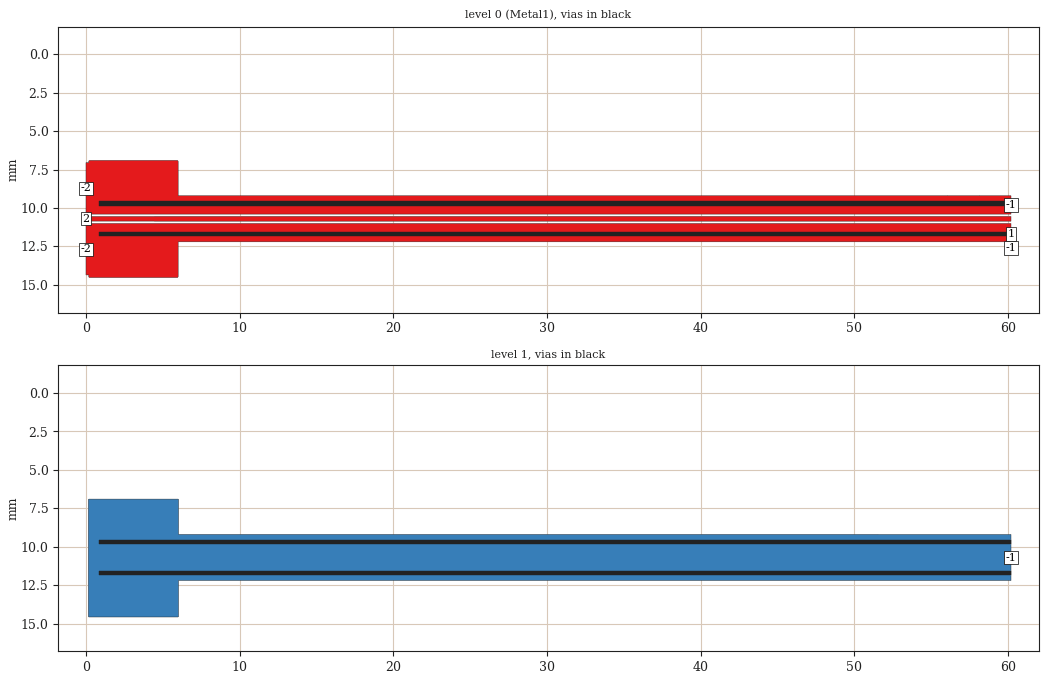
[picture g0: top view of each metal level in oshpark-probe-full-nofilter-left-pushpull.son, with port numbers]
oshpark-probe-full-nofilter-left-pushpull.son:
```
FTYP SONPROJ 18 ! Sonnet Project File
VER 17.56
HEADER
LIC antikernel2.1.50170 3cfdfeabd719 havequick azonenberg Level3Gold
DAT 02/17/2021 21:10:03
BUILT_BY_CREATED dxf 17.52.2 05/01/2020 05:35:06
BUILT_BY_SAVED sonnet 17.56
MDATE 02/17/2021 21:09:44
HDATE 02/17/2021 21:09:44
ANN Created by dxfgeo, Sonnet Software Inc.
END HEADER
DIM
ANG DEG
CAP PF
CON /OH
FREQ GHZ
IND NH
LNG MM
RES OH
END DIM
CONTROL
VARSWP
OPTIONS  -dj
SPEED 1
CACHE_ABS 1
Q_ACC N
END CONTROL
GEO
TMET "Free Space" 0 FREESPACE 376.7303136 0 0 0
BMET "Free Space" 0 FREESPACE 376.7303136 0 0 0
MET "Copper 1oz thick" 2 TMM 58000000 0.5 0.035 2
MET "Nickel " 3 TMM 14300000 0.5 3.5e-05 2
MET "Copper 0.5oz" 1 NOR 58000000 0.5 0.0175 
MET "Unknown_metal" 1 NOR INF 0.5 0 
MET "Unknown_metal" 1 VOL INF 0
BRI "Alumina (96%)" 0 9.4 0.0004 0 
BRI "Alumina (99.5%)" 0 9.9 0.0001 0 
BRI "Aluminum Nitride" 0 8.6 0.0003 0 
BRI "Arlon 25FR" 0 3.58 0.0035 0 
BRI "Arlon 25N" 0 3.38 0.0025 0 
BRI "Arlon AD5" 0 5.1 0.003 0 
BRI "Arlon AD10" 0 10.2 0.005 0 
BRI "Arlon AD250" 0 2.5 0.0018 0 
BRI "Arlon AD255A" 0 2.55 0.0015 0 
BRI "Arlon AD260A" 0 2.6 0.0018 0 
BRI "Arlon AD270" 0 2.7 0.0023 0 
BRI "Arlon AD300A" 0 3 0.002 0 
BRI "Arlon AD320A" 0 3.2 0.0032 0 
BRI "Arlon AD350A" 0 3.5 0.003 0 
BRI "Arlon AD410" 0 4.1 0.003 0 
BRI "Arlon AD430" 0 4.3 0.003 0 
BRI "Arlon AD450" 0 4.5 0.0035 0 
BRI "Arlon AD600" 0 6.15 0.003 0 
BRI "Arlon AD1000" 0 10.2 0.0023 0 
BRI "Arlon AR1000" 0 9.8 0.003 0 
BRI "Arlon CLTE" 0 2.96 0.0023 0 
BRI "Arlon CLTE-AT" 0 3 0.0013 0 
BRI "Arlon CLTE-P" 0 2.94 0.0025 0 
BRI "Arlon CLTE-XT" 0 2.94 0.0012 0 
BRI "Arlon Cu 217LX" 0 2.17 0.0009 0 
BRI "Arlon Cu 233LX" 0 2.33 0.0013 0 
BRI "Arlon Cu 250GT" 0 2.5 0.001 0 
BRI "Arlon Cu 250GX" 0 2.5 0.0018 0 
BRI "Arlon Cu 6250" 0 2.32 0.0013 0 
BRI "Arlon Cu 6700" 0 2.35 0.0025 0 
BRI "Arlon Di 522" 0 2.5 0.001 0 
BRI "Arlon Di 527" 0 2.5 0.0018 0 
BRI "Arlon Di 870" 0 2.33 0.0013 0 
BRI "Arlon Di 880" 0 2.17 0.0009 0 
BRI "Arlon Iso 917" 0 2.17 0.0013 0 
BRI "Arlon Iso 933" 0 2.33 0.0016 0 
BRI "Arlon Multi HF" 0 3.7 0.004 0 
BRI "Arlon TC350" 0 3.5 0.002 0 
BRI "Arlon TC600" 0 6.15 0.002 0 
BRI "Beryllia (99.5%)" 0 6.5 0.0004 0 
BRI "CEM-1" 0 4.5 0.02 0 
BRI "CEM-3" 0 4.5 0.02 0 
BRI "Dupont 9K7" 0 7.1 0.0012 0 
BRI "Dupont 943" 0 7.4 0.002 0 
BRI "Dupont 951" 0 7.8 0.006 0 
BRI "Dupont FEP" 0 2 0.0005 0 
BRI "Dupont Vacrel" 0 3.8 0.011 0 
BRI "ESL 41010" 0 7.5 0.005 0 
BRI "ESL 41020" 0 7.25 0.005 0 
BRI "ESL 41050" 0 13.5 0.002 0 
BRI "ESL 41060" 0 16.5 0.002 0 
BRI "ESL 41110" 0 4.5 0.004 0 
BRI "Ferro A6M" 0 5.9 0.002 0 
BRI "Ferro A6S" 0 5.9 0.002 0 
BRI "Ferro L8" 0 7.3 0.0018 0 
BRI "FR-4" 0 4.4 0.02 0 
BRI "G-10" 0 4.8 0.025 0 
BRI "Gallium Arsenide" 0 12.9 0.006 0 
BRI "Gallium Nitride" 0 9.7 0 0 
BRI "Glass (Pyrex)" 0 4.82 0.0054 0 
BRI "Heraeus HL2000" 0 7.3 0.0026 0 
BRI "Isola 370HR" 0 4.04 0.021 0 
BRI "Isola FR408" 0 3.77 0.0116 0 
BRI "Isola FR408HR" 0 3.68 0.0092 0 
BRI "Isola Getek" 0 3.6 0.01 0 
BRI "Isola GI-180" 0 3.7 0.013 0 
BRI "Isola IS415" 0 3.82 0.0125 0 
BRI "Isola IS620i" 0 3.58 0.006 0 
BRI "Isola IS680-280" 0 2.8 0.0025 0 
BRI "Isola IS680-300" 0 3 0.003 0 
BRI "Isola IS680-320" 0 3.2 0.003 0 
BRI "Isola IS680-333" 0 3.33 0.003 0 
BRI "Isola IS680-338" 0 3.38 0.0032 0 
BRI "Isola IS680-345" 0 3.45 0.0036 0 
BRI "Kerafol CT800" 0 5.3 0.008 0 
BRI "Nelco MW9350" 0 3.7 0.004 0 
BRI "Nelco N4000-12" 0 3.7 0.008 0 
BRI "Nelco N4000-13" 0 3.7 0.009 0 
BRI "Nelco N4000-13SI" 0 3.2 0.007 0 
BRI "Nelco N4000-13EP" 0 3.7 0.008 0 
BRI "Nelco N4350-13RF" 0 3.5 0.0065 0 
BRI "Nelco N4380-13RF" 0 3.8 0.007 0 
BRI "Nelco N9300-13RF" 0 3 0.004 0 
BRI "Nelco N9320-13RF" 0 3.2 0.0045 0 
BRI "Nelco N9338-13RF" 0 3.38 0.0046 0 
BRI "Nelco N9350-13RF" 0 3.48 0.0055 0 
BRI "Nelco NH9294" 0 2.94 0.0022 0 
BRI "Nelco NH9300" 0 3 0.0023 0 
BRI "Nelco NH9320" 0 3.2 0.0024 0 
BRI "Nelco NH9338" 0 3.38 0.0025 0 
BRI "Nelco NH9348" 0 3.48 0.003 0 
BRI "Nelco NH9350" 0 3.5 0.003 0 
BRI "Nelco NH9410" 0 4.1 0.003 0 
BRI "Nelco NH9450" 0 4.5 0.003 0 
BRI "Nelco NX9240" 0 2.4 0.0016 0 
BRI "Nelco NX9245" 0 2.45 0.0016 0 
BRI "Nelco NX9250" 0 2.5 0.0017 0 
BRI "Nelco NX9255" 0 2.55 0.0018 0 
BRI "Nelco NX9260" 0 2.6 0.0019 0 
BRI "Nelco NY9208" 0 2.08 0.0006 0 
BRI "Nelco NY9217" 0 2.17 0.0008 0 
BRI "Nelco NY9220" 0 2.2 0.0009 0 
BRI "Nelco NY9233" 0 2.33 0.0011 0 
BRI "PET" 0 3.37 0.0208 0 
BRI "Polyimide" 0 3.5 0.003 0 
BRI "Quartz (Fused)" 0 3.78 0.0001 0 
BRI "Rogers 3001" 0 2.28 0.003 0 
BRI "Rogers RO2808" 0 7.6 0.0015 0 
BRI "Rogers RO3003" 0 3 0.0013 0 
BRI "Rogers RO3006" 0 6.5 0.002 0 
BRI "Rogers RO3010" 0 11.2 0.0022 0 
BRI "Rogers RO3035" 0 3.6 0.0018 0 
BRI "Rogers RO3203" 0 3.02 0.0016 0 
BRI "Rogers RO3206" 0 6.6 0.0027 0 
BRI "Rogers RO3210" 0 10.8 0.0027 0 
BRI "Rogers RO3730" 0 3 0.0016 0 
BRI "Rogers RO4003C" 0 3.55 0.0029 0 
BRI "Rogers RO4533" 0 3.45 0.0029 0 
BRI "Rogers RO4534" 0 3.4 0.003 0 
BRI "Rogers RO4350B" 0 3.66 0.0037 0 
BRI "Rogers RO4350BTX" 0 3.66 0.0034 0 
BRI "Rogers RO4360" 0 6.15 0.0038 0 
BRI "Rogers RO4450B-3.6" 0 3.3 0.0043 0 
BRI "Rogers RO4450B-4" 0 3.54 0.004 0 
BRI "Rogers RO4450F" 0 3.52 0.0041 0 
BRI "Rogers RO4730" 0 3 0.0033 0 
BRI "Rogers RT5870" 0 2.33 0.0012 0 
BRI "Rogers RT5880" 0 2.2 0.0009 0 
BRI "Rogers RT5880LZ" 0 1.96 0.0019 0 
BRI "Rogers RT6002" 0 2.94 0.0012 0 
BRI "Rogers RT6006" 0 6.15 0.0027 0 
BRI "Rogers RT6010LM" 0 10.9 0.0023 0 
BRI "Rogers RT6035HTC" 0 3.6 0.0013 0 
BRI "Rogers RT6202" 0 2.94 0.0015 0 
BRI "Rogers RT6202PR" 0 2.95 0.0015 0 
BRI "Rogers Syron7000" 0 3.4 0.0045 0 
BRI "Rogers Syron7100-2" 0 3.61 0.006 0 
BRI "Rogers Syron7100-4" 0 3.39 0.005 0 
BRI "Rogers Theta" 0 4.01 0.0118 0 
BRI "Rogers TMM 3" 0 3.39 0.002 0 
BRI "Rogers TMM 4" 0 4.5 0.002 0 
BRI "Rogers TMM 6" 0 6 0.0023 0 
BRI "Rogers TMM 10" 0 9.56 0.0022 0 
BRI "Rogers TMM 10i" 0 9.96 0.002 0 
BRI "Rogers UL2000" 0 2.5 0.0019 0 
BRI "Rogers UL3850" 0 3.05 0.0025 0 
BRI "Rogers UL3908" 0 2.9 0.0025 0 
BRI "Rogers XT8000" 0 3.34 0.0035 0 
BRI "Rogers XT8100-2" 0 3.54 0.0049 0 
BRI "Rogers XT8100-4" 0 3.32 0.0038 0 
BRI "Silicon (intrinsic)" 0 11.9 0.004 0.00044 
BRI "Silicon Dioxide" 0 3.9 0 0 
BRI "Silicon Nitride" 0 7.5 0 0 
BRI "Taconic CER-10" 0 10 0.0035 0 
BRI "Taconic FastFilm" 0 2.7 0.0012 0 
BRI "Taconic Fastrise-DS" 0 2.96 0.0018 0 
BRI "Taconic Fastrise27" 0 2.7 0.0014 0 
BRI "Taconic Fastrise77" 0 7.7 0.0034 0 
BRI "Taconic FEP" 0 2 0.0003 0 
BRI "Taconic RF-30" 0 3 0.0014 0 
BRI "Taconic RF-35" 0 3.5 0.0018 0 
BRI "Taconic RF-35A2" 0 3.5 0.0011 0 
BRI "Taconic RF-35P" 0 3.5 0.0025 0 
BRI "Taconic RF-41" 0 4.1 0.0038 0 
BRI "Taconic RF-43" 0 4.3 0.0033 0 
BRI "Taconic RF-45" 0 4.5 0.0037 0 
BRI "Taconic RF-60A" 0 6.15 0.0038 0 
BRI "Taconic RF-301" 0 2.97 0.0012 0 
BRI "Taconic TacBond HT" 0 2.35 0.0025 0 
BRI "Taconic TLA-6" 0 2.62 0.0012 0 
BRI "Taconic TLC-27" 0 2.75 0.003 0 
BRI "Taconic TLC-30" 0 3 0.003 0 
BRI "Taconic TLC-32" 0 3.2 0.003 0 
BRI "Taconic TLE-95" 0 2.95 0.0028 0 
BRI "Taconic TLF-34" 0 3.4 0.002 0 
BRI "Taconic TLF-35" 0 3.5 0.002 0 
BRI "Taconic TLP-3" 0 2.33 0.0009 0 
BRI "Taconic TLP-5" 0 2.2 0.0009 0 
BRI "Taconic TLP-5A" 0 2.17 0.0009 0 
BRI "Taconic TLT-0" 0 2.45 0.0006 0 
BRI "Taconic TLT-9" 0 2.5 0.0006 0 
BRI "Taconic TLT-8" 0 2.55 0.0006 0 
BRI "Taconic TLT-7" 0 2.6 0.0006 0 
BRI "Taconic TLT-6" 0 2.65 0.0006 0 
BRI "Taconic TLX-0" 0 2.45 0.0019 0 
BRI "Taconic TLX-9" 0 2.5 0.0019 0 
BRI "Taconic TLX-8" 0 2.55 0.0019 0 
BRI "Taconic TLX-7" 0 2.6 0.0019 0 
BRI "Taconic TLX-6" 0 2.65 0.0019 0 
BRI "Taconic TLY-3" 0 2.33 0.0009 0 
BRI "Taconic TLY-3F" 0 2.33 0.0009 0 
BRI "Taconic TLY-5" 0 2.2 0.0009 0 
BRI "Taconic TLY-5-L" 0 2.2 0.0009 0 
BRI "Taconic TLY-5A" 0 2.17 0.0009 0 
BRI "Taconic TLY-5A-L" 0 2.17 0.0009 0 
BRI "Taconic TPG-30" 0 3 0.0038 0 
BRI "Taconic TPG-32" 0 3.2 0.005 0 
BRI "Taconic TPG-35" 0 3.5 0.005 0 
BRI "Taconic TRF-41" 0 4.1 0.0035 0 
BRI "Taconic TRF-43" 0 4.3 0.0035 0 
BRI "Taconic TRF-45" 0 4.5 0.0035 0 
BRI "Taconic TSM-DS" 0 2.85 0.001 0 
BRI "Taconic TSM-DS3" 0 3 0.0011 0 
BRI "Taconic TSM-26" 0 2.6 0.0014 0 
BRI "Taconic TSM-29" 0 2.94 0.0013 0 
BRI "Taconic TSM-30" 0 3 0.0013 0 
BRI "Teflon (PTFE)" 0 2.08 0.0004 0 
BOX 2 60.2 15 1204 600 20 0
      1 1 1 0 0 0 0 "Air"
      0.166 3.6 1 0.0092 0 0 0 "Isola FR408HR"
      1 1 1 0 0 0 0 "Air"
TECHLAY METAL Metal1 BLACK -2 0 
0 0 0 N 1940 1 1 100 100 0 0 0 Y
END
END
TECHLAY VIA Via1 <UNSPECIFIED> -4 0 
VIA POLYGON
1 0 -1 N 1990 1 1 100 100 0 0 0 Y
TOLEVEL 0 RING NOCOVERS
END
END
TECHLAY METAL Metal2 BLACK -3 0 
1 0 2 N 1956 1 1 100 100 0 0 0 Y
END
END
LORGN 0 15 U 
POR1 BOX
POLY 1963 1
39
-2 50 0 0 0 -0.013425 8.725 
POR1 BOX
POLY 1963 1
41
-1 50 0 0 0 60.2 9.8025 
POR1 BOX
POLY 1964 1
5
2 50 0 0 0 -0.013425 10.705 
POR1 BOX
POLY 1964 1
11
1 50 0 0 0 60.2 10.705 
POR1 BOX
POLY 1965 1
19
-2 50 0 0 0 -0.013425 12.685 
POR1 BOX
POLY 1965 1
17
-1 50 0 0 0 60.2 11.6075 
POR1 BOX
POLY 1966 1
13
-1 50 0 0 0 60.2 10.702 
NUM 6
0 43 0 N 1963 1 1 100 100 0 0 0 Y
TLAYNAM Metal1 INH
USER_DAT FromImport
60.2 9.205
58.15 9.205
58.15 9.2
56.05 9.2
56.05 9.205
5.987575 9.205
5.98734423 9.204923077
5.98689758 9.204677419
5.986575 9.204090909
5.986575 6.976
5.984575 6.962
5.982575 6.955
5.979575 6.948
5.975575 6.941
5.971575 6.935
5.967575 6.93
5.961575 6.924
5.956575 6.92
5.950575 6.916
5.943575 6.912
5.936575 6.909
5.929575 6.907
5.915575 6.905
0.232575 6.905
0.218575 6.907
0.211575 6.909
0.204575 6.912
0.197575 6.916
0.191575 6.92
0.186575 6.924
0.180575 6.93
0.176575 6.935
0.172575 6.941
0.168575 6.948
0.165575 6.955
0.163575 6.962
0.161575 6.976
0.161575 6.984
0.161575 7.05
-0.013425 7.05
-0.013425 10.4
60.2 10.4
60.2 9.205
END
0 13 0 N 1964 1 1 100 100 0 0 0 Y
TLAYNAM Metal1 INH
USER_DAT FromImport
60.2 10.55
4.453575 10.55
4.438575 10.551
4.423575 10.554
4.420775 10.555
-0.013425 10.555
-0.013425 10.855
4.420775 10.855
4.423575 10.856
4.438575 10.859
4.453575 10.86
60.2 10.86
60.2 10.55
END
0 39 0 N 1965 1 1 100 100 0 0 0 Y
TLAYNAM Metal1 INH
USER_DAT FromImport
5.929575 14.528
5.936575 14.526
5.943575 14.523
5.950575 14.519
5.956575 14.515
5.961575 14.511
5.967575 14.505
5.971575 14.5
5.975575 14.494
5.979575 14.487
5.982575 14.48
5.984575 14.473
5.986575 14.459
5.986575 12.206
5.98665192 12.20576923
5.98689758 12.20532258
5.98748409 12.205
60.2 12.205
60.2 11.01
-0.013425 11.01
-0.013425 14.36
0.161575 14.36
0.161575 14.451
0.161575 14.459
0.163575 14.473
0.165575 14.48
0.168575 14.487
0.172575 14.494
0.176575 14.5
0.180575 14.505
0.186575 14.511
0.191575 14.515
0.197575 14.519
0.204575 14.523
0.211575 14.526
0.218575 14.528
0.232575 14.53
5.915575 14.53
5.929575 14.528
END
VIA POLYGON
1 5 -1 N 1967 1 1 100 100 0 0 0 Y
TOLEVEL 0 RING NOCOVERS
TLAYNAM Via1 INH
USER_DAT FromImport
60.2 9.555
0.836575 9.555
0.836575 9.855
60.2 9.855
60.2 9.555
END
VIA POLYGON
1 5 -1 N 1968 1 1 100 100 0 0 0 Y
TOLEVEL 0 RING NOCOVERS
TLAYNAM Via1 INH
USER_DAT FromImport
60.2 11.555
0.836575 11.555
0.836575 11.855
60.2 11.855
60.2 11.555
END
1 59 3 N 1966 1 1 100 100 0 0 0 Y
5.97449989 14.57400055
5.97949905 14.57199974
5.98350067 14.57000084
5.98849983 14.56800003
5.99649925 14.56199951
5.99949951 14.55899925
6.00550003 14.55099983
6.00750084 14.54600067
6.00949974 14.54199905
6.01150055 14.53699989
6.0125 14.53200073
6.0125 12.20099945
6.01349945 12.2
60.2 12.2
60.2 9.204
51.55 9.204
51.55 9.2
6.0125 9.2
6.0125 9.19300003
6.01550026 6.956999969
6.01550026 6.943000031
6.01349945 6.932999802
6.01150055 6.929000092
6.00850029 6.924000931
6.00649948 6.919999313
6.00349922 6.915999603
6.00249977 6.915999603
5.99949951 6.912999344
5.99150009 6.907000732
5.98750038 6.904999924
5.98249931 6.902999115
5.9784996 6.901000214
5.97350044 6.900000763
0.18050022 6.900000763
0.17550011 6.901000214
0.17049999 6.902999115
0.16650028 6.904999924
0.16150017 6.907000732
0.15349979 6.912999344
0.15049953 6.915999603
0.14449997 6.924000931
0.14250011 6.929000092
0.14050026 6.932999802
0.1385004 6.93800087
0.1375 6.943000031
0.1375 14.53200073
0.1385004 14.53699989
0.14050026 14.54199905
0.14250011 14.54600067
0.14449997 14.55099983
0.15049953 14.55899925
0.15349979 14.56199951
0.16150017 14.56800003
0.16650028 14.57000084
0.17049999 14.57199974
0.17550011 14.57400055
0.18050022 14.575
5.96950073 14.575
5.97449989 14.57400055
END
END GEO
OPT
MAX 100
END OPT
VARSWP
ENABLED Y
FREQ Y AY ABS_ENTRY 0.1 10.0 -1 300 
END
END VARSWP
3DOPTIONS
GLOBAL 5
ALL 3 1
END 3DOPTIONS
```
